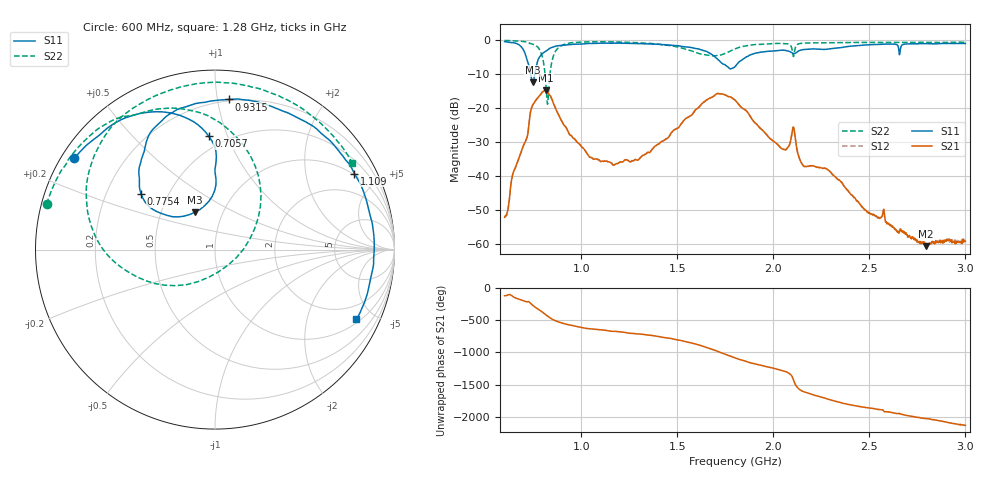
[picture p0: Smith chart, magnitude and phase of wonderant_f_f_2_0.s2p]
#  HZ  S  RI  R  50.00
! Rohde & Schwarz ZVB8 2Ports - Version 2.81 - 1145.1010k08 SN: 100113
! Date: 2016-05-17 22:37:36
! Measurements: S11 S21 S12 S22
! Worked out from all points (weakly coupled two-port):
!   1000 points, 600 MHz to 3 GHz, reference 50 ohm
!   highest |S21| = -14.83 dB at 813.8 MHz (marker M1); lowest = -60.6 dB at 2.796 GHz (marker M2)
!   lowest |S11| = -12.5 dB at 746.5 MHz (marker M3), VSWR 1.62, Z = 36.9 + j16.2 ohm
!   |S11| at or under -10 dB: 735.5 MHz to 757.6 MHz (22.11 MHz wide, 2.96 % of centre)
!   |S22| runs from -18.9 to -0.2 dB; largest |S21 - S12| = 0.0019
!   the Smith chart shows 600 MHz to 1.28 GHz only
!   S11 on the Smith chart (normalised r, x): 600 MHz: 0.04, +0.30; 705.7 MHz: 0.40, +0.86; 775.4 MHz: 0.35, +0.30; 931.5 MHz: 0.19, +1.08; 1.109 GHz: 0.95, +3.70; 1.28 GHz: 1.16, -3.97
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6e8  -0.7837 0.5087  -0.00121 -0.00217  -0.00118 -0.00224  -0.9383 0.2539
7.057057e8  -0.036 0.6339  -0.0275 0.0141  -0.0274 0.0144  -0.6344 0.6834
7.465465e8  -0.1122 0.2076  -0.00293 0.1097  -0.00336 0.1099  -0.3703 0.7728
7.753754e8  -0.4118 0.309  0.1233 0.071  0.1241 0.0719  -0.0749 0.7603
8.138138e8  -0.3949 0.5448  0.11 -0.1441  0.1106 -0.144  0.2205 0.1155
8.354354e8  -0.3577 0.6551  -0.023 -0.151  -0.0233 -0.1505  -0.2188 -0.2011
8.642643e8  -0.2375 0.7634  -0.0845 -0.054  -0.0844 -0.0541  -0.6661 0.0727
9.315315e8  0.0782 0.8365  -0.0386 0.0225  -0.0386 0.0223  -0.6119 0.6358
1.001201e9  0.3995 0.7644  -0.008 0.0256  -0.00809 0.0255  -0.3229 0.8613
1.109309e9  0.7771 0.4234  0.00594 0.0155  0.00586 0.0155  0.1518 0.9182
1.27988e9  0.788 -0.3887  0.0172 0.00341  0.0171 0.00345  0.7649 0.4819
1.4e9  0.3492 -0.7808  0.0245 -0.016  0.0245 -0.0159  0.8497 -0.1024
1.616216e9  -0.5845 -0.4217  -0.1025 -0.0232  -0.1025 -0.0234  0.1279 -0.607
1.801201e9  -0.4033 -0.0298  0.1285 -0.0129  0.1281 -0.0126  -0.3306 -0.6551
1.902102e9  -0.5351 0.3257  -0.00542 -0.0608  -0.00505 -0.0607  -0.7542 -0.3851
2.027027e9  0.0236 0.6946  -0.0279 0.00287  -0.0279 0.00284  -0.856 0.2036
2.103904e9  0.4049 0.4797  0.0491 0.0177  0.0491 0.0178  -0.4593 0.3277
2.2e9  0.7274 0.0785  -0.0123 0.0069  -0.0124 0.00687  -0.5029 0.74
2.409009e9  0.2113 -0.776  0.00506 -0.00147  0.00503 -0.0014  0.2837 0.8603
2.601201e9  -0.6 -0.6185  -0.0011 -0.00164  -0.00108 -0.00164  0.8105 0.4145
2.795796e9  -0.8717 -0.0259  -0.000675 0.00065  -0.00071 0.000702  0.8799 -0.2353
3e9  -0.6526 0.5867  0.000974 0.000515  0.00102 0.000552  0.5376 -0.7404
